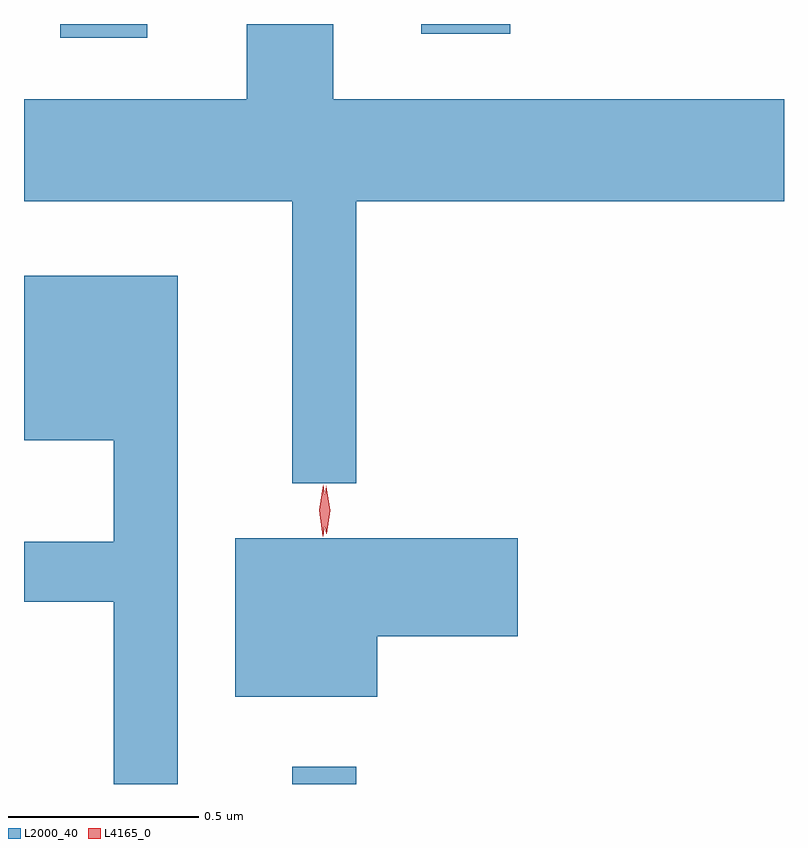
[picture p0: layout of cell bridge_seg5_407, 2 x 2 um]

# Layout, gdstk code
import gdstk
lib = gdstk.Library(unit=1e-6, precision=1e-09)
def R(c, l, rs):  # rectangles x0, y0, x1, y1
    for r in rs: c.add(gdstk.rectangle(r[:2], r[2:], *l))
def P(c, l, *ps):  # polygons
    for p in ps: c.add(gdstk.Polygon(p, *l))
L2000_40 = (2000, 40)
L4165_0 = (4165, 0)

bridge_seg5_407 = lib.new_cell('bridge_seg5_407')
R(bridge_seg5_407, L2000_40, [(460.211,1481.902,460.379,1481.948), (459.601,1483.866,459.829,1483.902), (460.551,1483.876,460.784,1483.902)])
P(bridge_seg5_407, L2000_40, [(460.379,1483.436),(461.505,1483.436),(461.505,1483.704),(460.319,1483.704),(460.319,1483.902),(460.091,1483.902),(460.091,1483.704),(459.505,1483.704),(459.505,1483.436),(460.211,1483.436),(460.211,1482.693),(460.379,1482.693)],
  [(459.909,1483.239),(459.505,1483.239),(459.505,1482.806),(459.741,1482.806),(459.741,1482.539),(459.505,1482.539),(459.505,1482.381),(459.741,1482.381),(459.741,1481.902),(459.909,1481.902)],
  [(460.434,1482.291),(460.804,1482.291),(460.804,1482.549),(460.061,1482.549),(460.061,1482.131),(460.434,1482.131)])
P(bridge_seg5_407, L4165_0, [(460.291,1482.554),(460.291,1482.554),(460.282,1482.622),(460.292,1482.69),(460.293,1482.69),(460.293,1482.69),(460.302,1482.622),(460.292,1482.554)],
  [(460.301,1482.56),(460.301,1482.56),(460.291,1482.623),(460.3,1482.686),(460.301,1482.687),(460.301,1482.686),(460.311,1482.623),(460.302,1482.56)])

lib.write_gds('bridge_seg5_407.gds')
